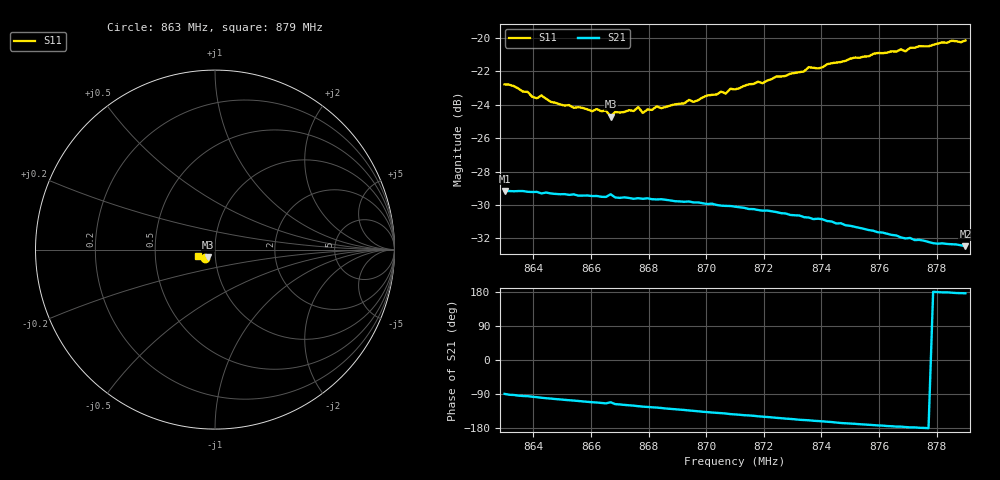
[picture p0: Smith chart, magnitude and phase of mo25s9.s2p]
# HZ S RI R 50
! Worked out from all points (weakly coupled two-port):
!   101 points, 863 MHz to 879 MHz, reference 50 ohm
!   highest |S21| = -29.17 dB at 863 MHz (marker M1); lowest = -32.5 dB at 879 MHz (marker M2)
!   lowest |S11| = -24.7 dB at 866.68 MHz (marker M3), VSWR 1.12, Z = 46 - j3.91 ohm
!   |S11| at or under -10 dB: start of sweep to end of sweep
!   S12 and S22 are empty: the file has one direction only
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8.63e8  -0.0569 -0.0452  0.000344 -0.0348  0 0  0 0
8.638e8  -0.0548 -0.0419  -0.0033 -0.0345  0 0  0 0
8.6396e8  -0.0525 -0.0411  -0.00423 -0.0343  0 0  0 0
8.6412e8  -0.0521 -0.0406  -0.00484 -0.0343  0 0  0 0
8.6428e8  -0.0515 -0.0433  -0.00566 -0.0338  0 0  0 0
8.646e8  -0.0503 -0.0403  -0.00699 -0.0335  0 0  0 0
8.6572e8  -0.045 -0.0423  -0.0112 -0.0318  0 0  0 0
8.6604e8  -0.0445 -0.0407  -0.0123 -0.0313  0 0  0 0
8.6652e8  -0.0432 -0.0426  -0.0138 -0.0304  0 0  0 0
8.6668e8  -0.0399 -0.0424  -0.0125 -0.0317  0 0  0 0
8.6684e8  -0.0423 -0.0427  -0.0148 -0.0298  0 0  0 0
8.6748e8  -0.0407 -0.0447  -0.0167 -0.0284  0 0  0 0
8.6764e8  -0.0426 -0.0452  -0.0175 -0.0281  0 0  0 0
8.678e8  -0.0404 -0.0439  -0.018 -0.0276  0 0  0 0
8.6828e8  -0.0408 -0.0472  -0.0191 -0.0267  0 0  0 0
8.6844e8  -0.0404 -0.0466  -0.0196 -0.0264  0 0  0 0
8.71e8  -0.0445 -0.0543  -0.0251 -0.0185  0 0  0 0
8.7372e8  -0.0579 -0.0573  -0.027 -0.00969  0 0  0 0
8.7644e8  -0.0763 -0.0502  -0.0256 -0.00235  0 0  0 0
8.7692e8  -0.0783 -0.0468  -0.0251 -0.00136  0 0  0 0
8.774e8  -0.0835 -0.0445  -0.0248 -0.000488  0 0  0 0
8.79e8  -0.0923 -0.034  -0.0237 0.00161  0 0  0 0
